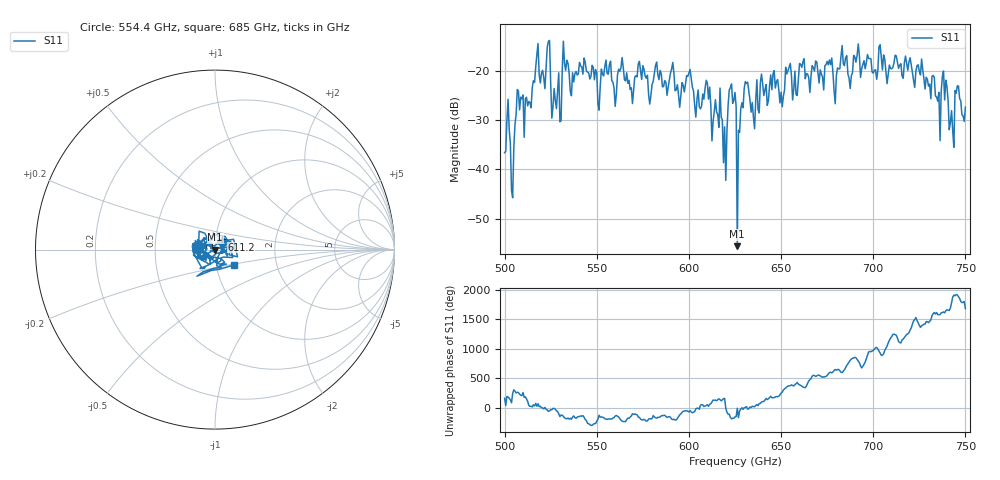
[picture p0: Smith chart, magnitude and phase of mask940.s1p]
!Created with skrf (http://scikit-rf.org).
# GHz S MA R 50.0
!freq magS11 angS11
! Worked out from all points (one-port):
!   401 points, 500 GHz to 750 GHz, reference 50 ohm
!   lowest |S11| = -55.6 dB at 626.2 GHz (marker M1), VSWR 1.00, Z = 50.2 - j0.0321 ohm
!   |S11| at or under -10 dB: start of sweep to end of sweep
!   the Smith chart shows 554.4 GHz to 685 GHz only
!   S11 on the Smith chart (normalised r, x): 554.4 GHz: 0.80, +0.03; 611.2 GHz: 1.07, +0.12; 685 GHz: 1.21, -0.21
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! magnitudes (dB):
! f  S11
! 500 GHz  -36.6
! 501.9 GHz  -25.8
! 504.4 GHz  -45.8
! 507.5 GHz  -24.2
! 511.9 GHz  -25.4
! 517.5 GHz  -16.8
! 523.8 GHz  -14.1
! 526.9 GHz  -23.6
! 531.2 GHz  -20.1
! 554.4 GHz  -19.2
! 562.5 GHz  -20.1
! 593.8 GHz  -22.9
! 611.2 GHz  -23.4
! 619.4 GHz  -31.4
! 623.8 GHz  -26.6
! 625 GHz  -24.4
! 626.2 GHz  -55.6
! 631.2 GHz  -22.6
! 635 GHz  -29.5
! 656.2 GHz  -26.0
! 685 GHz  -17.4
! 687.5 GHz  -23.6
! 718.8 GHz  -20.0
! 735 GHz  -26.2
! 738.8 GHz  -26.0
! 742.5 GHz  -28.1
! 745.6 GHz  -23.1
! 750 GHz  -27.4
